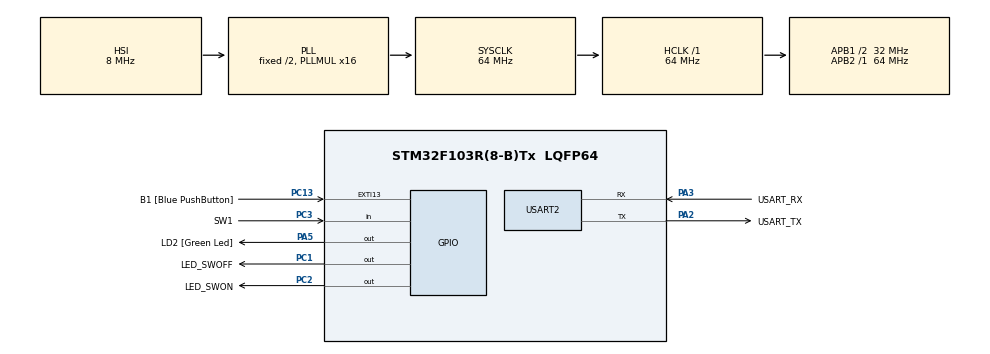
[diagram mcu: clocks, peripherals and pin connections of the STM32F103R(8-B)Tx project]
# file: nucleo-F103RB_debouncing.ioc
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Mcu.Family=STM32F1
Mcu.Name=STM32F103R(8-B)Tx
Mcu.Package=LQFP64
NVIC.EXTI15_10_IRQn=true\:0\:0\:false\:false\:true\:true\:true\:true
NVIC.PriorityGroup=NVIC_PRIORITYGROUP_4
PA13.GPIO_Label=TMS
PA13.Mode=Serial_Wire
PA13.Signal=SYS_JTMS-SWDIO
PA14.GPIO_Label=TCK
PA14.Mode=Serial_Wire
PA14.Signal=SYS_JTCK-SWCLK
PA2.GPIO_Label=USART_TX
PA2.GPIO_Mode=GPIO_MODE_AF_PP
PA2.GPIO_PuPd=GPIO_NOPULL
PA2.GPIO_Speed=GPIO_SPEED_FREQ_LOW
PA2.Mode=Asynchronous
PA2.Signal=USART2_TX
PA3.GPIO_Label=USART_RX
PA3.GPIO_Mode=GPIO_MODE_AF_PP
PA3.GPIO_PuPd=GPIO_NOPULL
PA3.GPIO_Speed=GPIO_SPEED_FREQ_LOW
PA3.Mode=Asynchronous
PA3.Signal=USART2_RX
PA5.GPIO_Label=LD2 [Green Led]
PA5.GPIO_ModeDefaultOutputPP=GPIO_MODE_OUTPUT_PP
PA5.GPIO_PuPd=GPIO_NOPULL
PA5.GPIO_Speed=GPIO_SPEED_FREQ_LOW
PA5.Signal=GPIO_Output
PB3.GPIO_Label=SWO
PB3.Signal=SYS_JTDO-TRACESWO
PC1.GPIO_Label=LED_SWOFF
PC1.Signal=GPIO_Output
PC13-TAMPER-RTC.GPIO_Label=B1 [Blue PushButton]
PC13-TAMPER-RTC.GPIO_PuPd=GPIO_NOPULL
PC13-TAMPER-RTC.Signal=GPXTI13
PC14-OSC32_IN.Mode=LSE-External-Oscillator
PC14-OSC32_IN.Signal=RCC_OSC32_IN
PC15-OSC32_OUT.Mode=LSE-External-Oscillator
PC15-OSC32_OUT.Signal=RCC_OSC32_OUT
PC2.GPIO_Label=LED_SWON
PC2.Signal=GPIO_Output
PC3.GPIO_Label=SW1
PC3.Signal=GPIO_Input
PD0-OSC_IN.Mode=HSE-External-Clock-Source
PD0-OSC_IN.Signal=RCC_OSC_IN
PD1-OSC_OUT.Mode=HSE-External-Clock-Source
PD1-OSC_OUT.Signal=RCC_OSC_OUT
ProjectManager.HeapSize=0x200
ProjectManager.StackSize=0x400
ProjectManager.TargetToolchain=STM32CubeIDE
RCC.AHBFreq_Value=64000000
RCC.APB1CLKDivider=RCC_HCLK_DIV2
RCC.APB1Freq_Value=32000000
RCC.APB1TimFreq_Value=64000000
RCC.APB2Freq_Value=64000000
RCC.APB2TimFreq_Value=64000000
RCC.HCLKFreq_Value=64000000
RCC.PLLMUL=RCC_PLL_MUL16
RCC.RTCClockSelection=RCC_RTCCLKSOURCE_LSE
RCC.SYSCLKFreq_VALUE=64000000
RCC.SYSCLKSource=RCC_SYSCLKSOURCE_PLLCLK
RCC.USBFreq_Value=64000000
USART2.VirtualMode=VM_ASYNC
board=NUCLEO-F103RB

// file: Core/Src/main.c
/* USER CODE BEGIN Header */
/**
  ******************************************************************************
  * @file           : main.c
  * @brief          : Main program body
  ******************************************************************************
  * @attention
  *
  * Copyright (c) 2023 STMicroelectronics.
  * All rights reserved.
  *
  * This software is licensed under terms that can be found in the LICENSE file
  * in the root directory of this software component.
  * If no LICENSE file comes with this software, it is provided AS-IS.
  *
  ******************************************************************************
  */
/* USER CODE END Header */
#include "main.h"

/* USER CODE BEGIN PD */
#define FILTER_SIZE 8
/* USER CODE END PD */

UART_HandleTypeDef huart2;

/* USER CODE BEGIN PV */
unsigned char filter[FILTER_SIZE];
unsigned char changed_SWON;
unsigned char changed_SWOFF;
unsigned char current;
unsigned char previous;
uint8_t toggle_SWOFF = 0;
uint8_t toggle_SWON = 0;

/* USER CODE END PV */

void SystemClock_Config(void);
static void MX_GPIO_Init(void);
static void MX_USART2_UART_Init(void);

int main(void)
{

  /* MCU Configuration--------------------------------------------------------*/

  /* Reset of all peripherals, Initializes the Flash interface and the Systick. */
  HAL_Init();

  /* Configure the system clock */
  SystemClock_Config();

  /* Initialize all configured peripherals */
  MX_GPIO_Init();
  MX_USART2_UART_Init();
  /* USER CODE BEGIN 2 */
int first_run=0;
  /* USER CODE END 2 */

  /* Infinite loop */
  /* USER CODE BEGIN WHILE */
  while (1)
  {
	  previous = current;
	  current = 0;

	  for(int i = FILTER_SIZE-1; i > 0; i--){// filter 겡신
		  filter[i] = filter[i-1];// filter값을 계속 받기
		  current = filter[i]; // 의미없는 동작 하다가 마지막에 filter[1]의 값을 유지
	  }

	  filter[0] = HAL_GPIO_ReadPin(GPIOC, SW1_Pin); // filter[0]은 현재 sw값
	  current |= filter[0];// filter[1]과 filter[0]의 값을 or연산 ( 누르면 0 이 되니까 filter 0,1 번지가 모두 0이 되면 or연산 값이 0이 됨.

	  if(current == 0 && previous == 1)
		  changed_SWON = 1;
	  else changed_SWON = 0;

	  if(changed_SWON)
		  toggle_SWON = toggle_SWON ? 0 : 1;

	  HAL_GPIO_WritePin(GPIOC, LED_SWON_Pin, toggle_SWON);

	//  if(current == 1 && previous == 0 && first_run==1) changed_SWOFF = 1;
	//  else changed_SWOFF = 0;
	//  if(changed_SWOFF) toggle_SWOFF = toggle_SWOFF ? 0 : 1;
	//  HAL_GPIO_WritePin(GPIOC, LED_SWOFF_Pin, toggle_SWOFF);

	  first_run=1;
	  //HAL_Delay(100);

    /* USER CODE END WHILE */

  }
}

void SystemClock_Config(void)
{
  RCC_OscInitTypeDef RCC_OscInitStruct = {0};
  RCC_ClkInitTypeDef RCC_ClkInitStruct = {0};

  /** Initializes the RCC Oscillators according to the specified parameters
  * in the RCC_OscInitTypeDef structure.
  */
  RCC_OscInitStruct.OscillatorType = RCC_OSCILLATORTYPE_HSI;
  RCC_OscInitStruct.HSIState = RCC_HSI_ON;
  RCC_OscInitStruct.HSICalibrationValue = RCC_HSICALIBRATION_DEFAULT;
  RCC_OscInitStruct.PLL.PLLState = RCC_PLL_ON;
  RCC_OscInitStruct.PLL.PLLSource = RCC_PLLSOURCE_HSI_DIV2;
  RCC_OscInitStruct.PLL.PLLMUL = RCC_PLL_MUL16;
  if (HAL_RCC_OscConfig(&RCC_OscInitStruct) != HAL_OK)
  {
    Error_Handler();
  }

  /** Initializes the CPU, AHB and APB buses clocks
  */
  RCC_ClkInitStruct.ClockType = RCC_CLOCKTYPE_HCLK|RCC_CLOCKTYPE_SYSCLK
                              |RCC_CLOCKTYPE_PCLK1|RCC_CLOCKTYPE_PCLK2;
  RCC_ClkInitStruct.SYSCLKSource = RCC_SYSCLKSOURCE_PLLCLK;
  RCC_ClkInitStruct.AHBCLKDivider = RCC_SYSCLK_DIV1;
  RCC_ClkInitStruct.APB1CLKDivider = RCC_HCLK_DIV2;
  RCC_ClkInitStruct.APB2CLKDivider = RCC_HCLK_DIV1;

  if (HAL_RCC_ClockConfig(&RCC_ClkInitStruct, FLASH_LATENCY_2) != HAL_OK)
  {
    Error_Handler();
  }
}

static void MX_USART2_UART_Init(void)
{

  huart2.Instance = USART2;
  huart2.Init.BaudRate = 115200;
  huart2.Init.WordLength = UART_WORDLENGTH_8B;
  huart2.Init.StopBits = UART_STOPBITS_1;
  huart2.Init.Parity = UART_PARITY_NONE;
  huart2.Init.Mode = UART_MODE_TX_RX;
  huart2.Init.HwFlowCtl = UART_HWCONTROL_NONE;
  huart2.Init.OverSampling = UART_OVERSAMPLING_16;
  if (HAL_UART_Init(&huart2) != HAL_OK)
  {
    Error_Handler();
  }

}

static void MX_GPIO_Init(void)
{
  GPIO_InitTypeDef GPIO_InitStruct = {0};

  /* GPIO Ports Clock Enable */
  __HAL_RCC_GPIOC_CLK_ENABLE();
  __HAL_RCC_GPIOD_CLK_ENABLE();
  __HAL_RCC_GPIOA_CLK_ENABLE();
  __HAL_RCC_GPIOB_CLK_ENABLE();

  /*Configure GPIO pin Output Level */
  HAL_GPIO_WritePin(GPIOC, LED_SWOFF_Pin|LED_SWON_Pin, GPIO_PIN_RESET);

  /*Configure GPIO pin Output Level */
  HAL_GPIO_WritePin(LD2_GPIO_Port, LD2_Pin, GPIO_PIN_RESET);

  /*Configure GPIO pin : B1_Pin */
  GPIO_InitStruct.Pin = B1_Pin;
  GPIO_InitStruct.Mode = GPIO_MODE_IT_RISING;
  GPIO_InitStruct.Pull = GPIO_NOPULL;
  HAL_GPIO_Init(B1_GPIO_Port, &GPIO_InitStruct);

  /*Configure GPIO pins : LED_SWOFF_Pin LED_SWON_Pin */
  GPIO_InitStruct.Pin = LED_SWOFF_Pin|LED_SWON_Pin;
  GPIO_InitStruct.Mode = GPIO_MODE_OUTPUT_PP;
  GPIO_InitStruct.Pull = GPIO_NOPULL;
  GPIO_InitStruct.Speed = GPIO_SPEED_FREQ_LOW;
  HAL_GPIO_Init(GPIOC, &GPIO_InitStruct);

  /*Configure GPIO pin : SW1_Pin */
  GPIO_InitStruct.Pin = SW1_Pin;
  GPIO_InitStruct.Mode = GPIO_MODE_INPUT;
  GPIO_InitStruct.Pull = GPIO_NOPULL;
  HAL_GPIO_Init(SW1_GPIO_Port, &GPIO_InitStruct);

  /*Configure GPIO pin : LD2_Pin */
  GPIO_InitStruct.Pin = LD2_Pin;
  GPIO_InitStruct.Mode = GPIO_MODE_OUTPUT_PP;
  GPIO_InitStruct.Pull = GPIO_NOPULL;
  GPIO_InitStruct.Speed = GPIO_SPEED_FREQ_LOW;
  HAL_GPIO_Init(LD2_GPIO_Port, &GPIO_InitStruct);

  /* EXTI interrupt init*/
  HAL_NVIC_SetPriority(EXTI15_10_IRQn, 0, 0);
  HAL_NVIC_EnableIRQ(EXTI15_10_IRQn);

}

void Error_Handler(void)
{
  __disable_irq();
  while (1)
  {
  }
}
